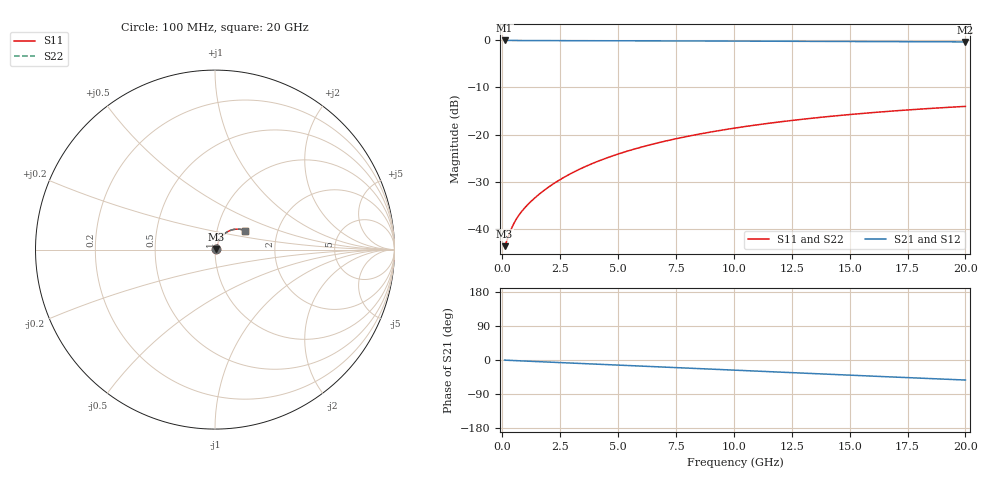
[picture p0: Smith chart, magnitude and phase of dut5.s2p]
! Touchstone file exported from HFSS 2026.1.0
!  File:  C:/ffzhzh/LocalFiles/Ansys_Project_Files/temp_test_TMRDL_5_1782906882_13352.aedt
!  Generated:  07:55:53 PM Jul  1, 2026
!  Design:  TMRDL
!  Project:  temp_test_TMRDL_5_1782906882_13352
! Variables:
!  h_bsmrdl = 2um
!  h_ox = 20um
!  h_rdl = 5um
!  h_sub = 80um
!  h_tmrdl = 2.21um
!  h_tsv = 80um
!  h_via = 3um
!  l_bsmrdl = 300um
!  l_sub = 1312.55um
!  l_tmrdl = 912.55um
!  m_sub = 200um
!  pitch = 31.64um
!  r_tsv = 6um
!  s_tmrdl = 10um
!  w_bsmrdl = 18um
!  w_sub = 500um
!  w_tmrdl = 24.08um
!  x_tsv_center1 = 924.59um
!  x_tsv_center2 = 1242.59um
!  x_tsv_center3 = 2179.22um
!  x_tsv_center4 = 2497.22um
!  x_tsv_center5 = 3433.85um
!  x_tsv_center6 = 3751.85um
# GHz S MA R 50.000000
! Terminal data exported
! Port[1] = TM_RDL1_1_T1
! Port[2] = TM_RDL1_1_T2
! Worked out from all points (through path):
!   200 points, 100 MHz to 20 GHz, reference 50 ohm
!   highest |S21| = -0.06 dB at 100 MHz (marker M1); lowest = -0.4 dB at 20 GHz (marker M2)
!   group delay of S21, straight-line fit = 7.34 ps
!   lowest |S11| = -43.5 dB at 100 MHz (marker M3), VSWR 1.01, Z = 50.6 + j0.192 ohm
!   |S11| at or under -10 dB: start of sweep to end of sweep
!   |S22| runs from -43.5 to -14.0 dB; largest |S21 - S12| = 4.4e-15
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0.1  0.006651 16.6  0.9936 -0.3  0.9936 -0.3  0.006651 16.6
! Gamma 0 0 0 0
! Port Impedance 50 0 50 0
0.4  0.01026 41.6  0.9924 -1.2  0.9924 -1.2  0.01026 41.6
0.5  0.01155 44.9  0.992 -1.5  0.992 -1.5  0.01155 44.9
0.6  0.01278 47.4  0.9916 -1.8  0.9916 -1.8  0.01278 47.4
0.7  0.01394 49.3  0.9912 -2.0  0.9912 -2.0  0.01394 49.3
0.9  0.01615 52.5  0.9907 -2.6  0.9907 -2.6  0.01615 52.5
1.2  0.01935 56.3  0.9901 -3.4  0.9901 -3.4  0.01935 56.3
1.7  0.02472 60.8  0.9895 -4.7  0.9895 -4.7  0.02472 60.8
2.2  0.03027 63.6  0.9891 -6.1  0.9891 -6.1  0.03027 63.6
2.8  0.0371 65.4  0.9886 -7.7  0.9886 -7.7  0.0371 65.4
3.5  0.0452 66.2  0.9879 -9.6  0.9879 -9.6  0.04519 66.2
4.2  0.05333 66.2  0.9872 -11.4  0.9872 -11.4  0.05333 66.2
5  0.06261 65.6  0.9863 -13.6  0.9863 -13.6  0.0626 65.6
5.9  0.07293 64.4  0.9852 -16.0  0.9852 -16.0  0.07292 64.4
6.8  0.08309 62.8  0.9839 -18.4  0.9839 -18.4  0.08308 62.9
8.4  0.1006 59.6  0.9814 -22.7  0.9814 -22.7  0.1006 59.6
10.1  0.1184 55.8  0.9784 -27.2  0.9784 -27.2  0.1184 55.8
11.7  0.1342 52.0  0.9753 -31.4  0.9753 -31.4  0.1342 52.1
13.4  0.15 47.9  0.972 -35.9  0.972 -35.9  0.1499 48.0
15  0.1637 44.1  0.9689 -40.0  0.9689 -40.0  0.1637 44.1
16.7  0.1772 39.9  0.9656 -44.4  0.9656 -44.4  0.1771 39.9
20  0.1997 31.8  0.9596 -52.9  0.9596 -52.9  0.1997 31.9
